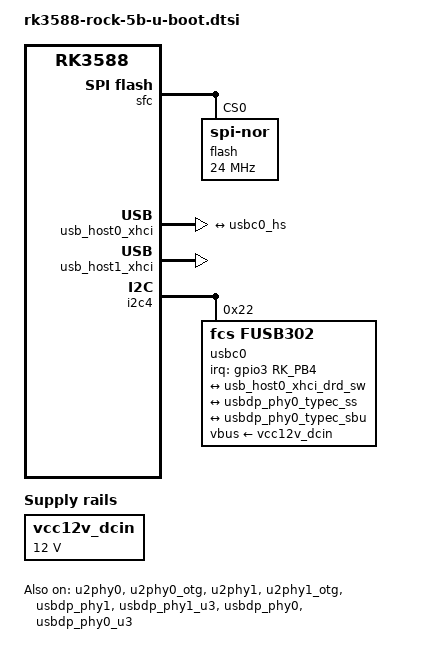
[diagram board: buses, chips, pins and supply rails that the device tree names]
// SPDX-License-Identifier: (GPL-2.0+ OR MIT)
/*
 * Copyright (c) 2023 Collabora Ltd.
 */

#include "rk3588-u-boot.dtsi"
#include <dt-bindings/usb/pd.h>

/ {
	vcc12v_dcin: vcc12v-dcin-regulator {
		compatible = "regulator-fixed";
		regulator-name = "vcc12v_dcin";
		regulator-always-on;
		regulator-boot-on;
		regulator-min-microvolt = <12000000>;
		regulator-max-microvolt = <12000000>;
	};
};

&fspim2_pins {
	bootph-all;
};

&pinctrl {
	usb {
		usbc0_int: usbc0-int {
			rockchip,pins = <3 RK_PB4 RK_FUNC_GPIO &pcfg_pull_none>;
		};
	};
};

&sdhci {
	cap-mmc-highspeed;
	mmc-hs200-1_8v;
};

&sfc {
	bootph-pre-ram;
	u-boot,spl-sfc-no-dma;
	pinctrl-names = "default";
	pinctrl-0 = <&fspim2_pins>;
	status = "okay";

	flash@0 {
		bootph-pre-ram;
		compatible = "jedec,spi-nor";
		reg = <0>;
		spi-max-frequency = <24000000>;
		spi-rx-bus-width = <4>;
		spi-tx-bus-width = <1>;
	};
};

&u2phy0 {
	status = "okay";
};

&u2phy0_otg {
	status = "okay";
};

&u2phy1 {
	status = "okay";
};

&u2phy1_otg {
	status = "okay";
};

&usbdp_phy1 {
	status = "okay";
};

&usbdp_phy1_u3 {
	status = "okay";
};

&usbdp_phy0 {
	orientation-switch;
	mode-switch;
	sbu1-dc-gpios = <&gpio4 RK_PA6 GPIO_ACTIVE_HIGH>;
	sbu2-dc-gpios = <&gpio4 RK_PA7 GPIO_ACTIVE_HIGH>;
	status = "okay";

	port {
		#address-cells = <1>;
		#size-cells = <0>;

		usbdp_phy0_typec_ss: endpoint@0 {
			reg = <0>;
			remote-endpoint = <&usbc0_ss>;
		};

		usbdp_phy0_typec_sbu: endpoint@1 {
			reg = <1>;
			remote-endpoint = <&usbc0_sbu>;
		};
	};
};

&usbdp_phy0_u3 {
	status = "okay";
};

&usb_host0_xhci {
	usb-role-switch;
	status = "okay";

	port {
		#address-cells = <1>;
		#size-cells = <0>;

		usb_host0_xhci_drd_sw: endpoint {
			remote-endpoint = <&usbc0_hs>;
		};
	};
};

&usb_host1_xhci {
	status = "okay";
};

&i2c4 {
	pinctrl-names = "default";
	pinctrl-0 = <&i2c4m1_xfer>;
	status = "okay";

	usbc0: usb-typec@22 {
		compatible = "fcs,fusb302";
		reg = <0x22>;
		interrupt-parent = <&gpio3>;
		interrupts = <RK_PB4 IRQ_TYPE_LEVEL_LOW>;
		pinctrl-names = "default";
		pinctrl-0 = <&usbc0_int>;
		vbus-supply = <&vcc12v_dcin>;
		status = "okay";

		usb_con: connector {
			compatible = "usb-c-connector";
			label = "USB-C";
			data-role = "dual";
			power-role = "sink";
			try-power-role = "sink";
			op-sink-microwatt = <1000000>;
			sink-pdos =
				<PDO_FIXED(5000, 3000, PDO_FIXED_USB_COMM)>,
				<PDO_VAR(5000, 20000, 5000)>;

			ports {
				#address-cells = <1>;
				#size-cells = <0>;

				port@0 {
					reg = <0>;
					usbc0_hs: endpoint {
						remote-endpoint = <&usb_host0_xhci_drd_sw>;
					};
				};

				port@1 {
					reg = <1>;
					usbc0_ss: endpoint {
						remote-endpoint = <&usbdp_phy0_typec_ss>;
					};
				};

				port@2 {
					reg = <2>;
					usbc0_sbu: endpoint {
						remote-endpoint = <&usbdp_phy0_typec_sbu>;
					};
				};
			};
		};
	};
};
